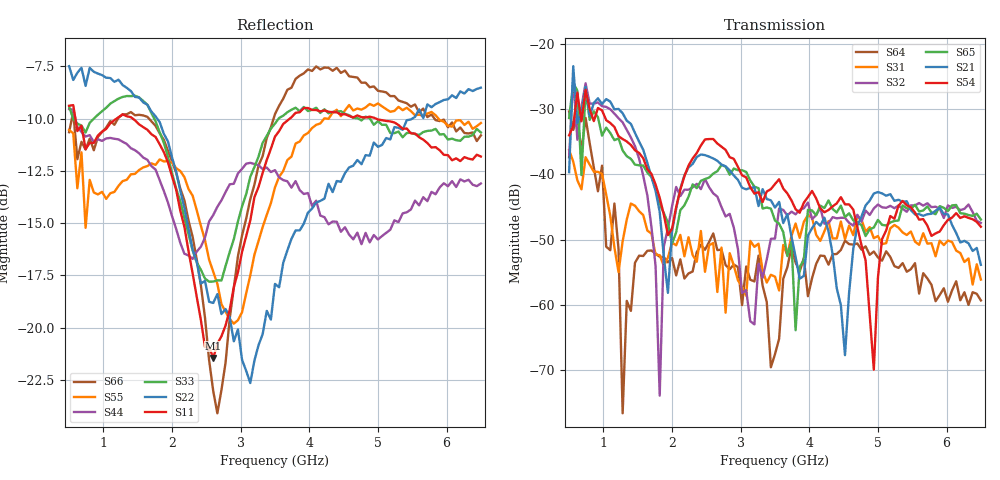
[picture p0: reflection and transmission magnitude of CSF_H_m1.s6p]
!Keysight Technologies,M9804A,MY58100912,A.14.10.03
!Date: Thursday, April 27, 2023 10:28:33
!Correction: S11(C  6-Port  )
!S12(C  6-Port  )
!S13(C  6-Port  )
!S14(C  6-Port  )
!S15(C  6-Port  )
!S16(C  6-Port  )
!S21(C  6-Port  )
!S22(C  6-Port  )
!S23(C  6-Port  )
!S24(C  6-Port  )
!S25(C  6-Port  )
!S26(C  6-Port  )
!S31(C  6-Port  )
!S32(C  6-Port  )
!S33(C  6-Port  )
!S34(C  6-Port  )
!S35(C  6-Port  )
!S36(C  6-Port  )
!S41(C  6-Port  )
!S42(C  6-Port  )
!S43(C  6-Port  )
!S44(C  6-Port  )
!S45(C  6-Port  )
!S46(C  6-Port  )
!S51(C  6-Port  )
!S52(C  6-Port  )
!S53(C  6-Port  )
!S54(C  6-Port  )
!S55(C  6-Port  )
!S56(C  6-Port  )
!S61(C  6-Port  )
!S62(C  6-Port  )
!S63(C  6-Port  )
!S64(C  6-Port  )
!S65(C  6-Port  )
!S66(C  6-Port  )
!S6P File: Measurement: :
# Hz S  RI  R 50
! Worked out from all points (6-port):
!   101 points, 500 MHz to 6.5 GHz, reference 50 ohm
!   strongest paths, dB at 500 MHz, 2 GHz, 3.5 GHz, 5 GHz, 6.5 GHz:
!     S54: -34.0, -48.3, -41.5, -55.8, -48.0
!     S21: -39.7, -48.7, -45.1, -42.7, -53.8
!     S65: -31.4, -50.6, -47.1, -47.0, -46.9
!     S32: -37.4, -44.9, -49.8, -44.6, -47.4
!     S31: -36.3, -50.4, -55.6, -49.4, -56.1
!     S64: -30.4, -52.8, -67.5, -52.7, -59.3
!   lowest |S11| = -21.5 dB at 2.6 GHz (marker M1), VSWR 1.18, Z = 42.5 + j2.14 ohm
!   |S11| at or under -10 dB: 591.2 MHz to 1.191 GHz (599.3 MHz wide, 67.3 % of centre); 1.428 GHz to 3.715 GHz (2.288 GHz wide, 89 % of centre); 4.973 GHz to end of sweep
